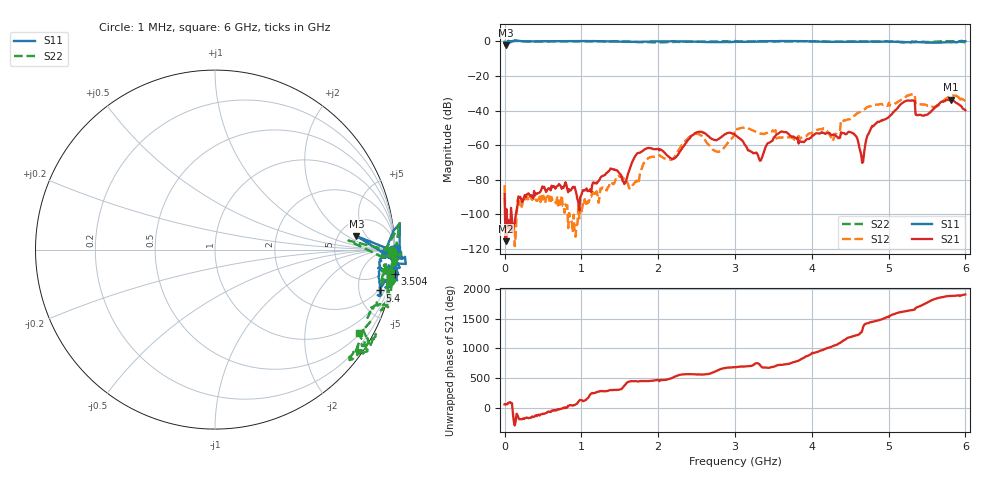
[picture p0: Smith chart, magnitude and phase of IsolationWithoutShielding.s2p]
# GHZ S RI R 50
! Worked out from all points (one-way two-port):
!   501 points, 1 MHz to 6 GHz, reference 50 ohm
!   highest |S21| = -33.76 dB at 5.808 GHz (marker M1); lowest = -115.7 dB at 13 MHz (marker M2)
!   lowest |S11| = -2.0 dB at 13 MHz (marker M3), VSWR 8.61, Z = 369 + j149 ohm
!   |S11| at or under -10 dB: nowhere
!   |S22| runs from -2.6 to 0.3 dB; largest |S21 - S12| = 0.049
!   S11 on the Smith chart (normalised r, x): 1 MHz: open; 3.504 GHz: -1, -15; 5.4 GHz: 1.75, -7.81; 6 GHz: open
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0.001  0.9857 -0.00395  2.26e-05 3.06e-05  -6.68e-05 -1.66e-05  0.9842 -0.00791
0.012998  0.7882 0.0755  1.11e-06 1.21e-06  -2.87e-06 1.04e-06  0.7439 0.0503
1.008832  1.02 -0.00992  -2.2e-05 3.49e-05  2.87e-06 -1.42e-05  1.011 -0.0243
1.56074  0.9791 -0.0442  7.34e-05 1.2e-05  -2.02e-05 -9.86e-05  0.9899 -0.07
1.728712  0.9762 -0.0287  6.96e-05 0.000576  1.27e-06 7.43e-05  0.9498 -0.1275
2.004666  0.9963 -0.0689  -0.000205 0.00075  -5.08e-05 0.000473  0.9394 -0.1097
2.208632  0.9982 -0.0971  -0.000381 0.000151  -0.000422 0.000103  0.9553 -0.1202
2.496584  0.9754 -0.1193  -0.00216 -0.000798  -0.00172 -0.00123  0.9721 -0.1559
2.796534  0.9497 -0.1079  0.000329 -0.00151  8.55e-06 -0.000651  0.973 -0.1852
3.0005  0.9906 -0.127  0.00152 -0.0012  0.00163 -0.0024  1.012 -0.1611
3.324446  1 -0.0866  0.000351 1.4e-05  0.000368 0.00213  1.004 -0.0173
3.504416  1.001 -0.1362  0.00146 -0.000775  -0.00225 0.0011  0.9811 -0.1208
4.008332  0.9928 -0.1279  -0.00173 -0.00083  0.00202 0.00109  0.9593 -0.2769
4.272288  0.9653 -0.1361  0.0015 -0.00127  -0.0013 8.03e-05  0.9604 -0.1835
4.512248  0.9716 -0.1157  -0.00104 0.00208  0.00587 -0.00104  0.9874 -0.1161
4.656224  0.9731 -0.1391  -0.000238 -0.000192  0.00344 0.00952  0.9915 -0.134
4.776204  0.9698 -0.1562  0.00319 0.000448  -0.0076 0.0113  0.9731 -0.1699
5.004166  0.9572 -0.1961  0.00015 0.00655  -0.0121 -0.0117  0.935 -0.3101
5.256124  0.924 -0.2253  -0.0183 -0.0061  0.0241 0.0121  0.8462 -0.3862
5.4001  0.9198 -0.2278  0.000191 -0.00749  -0.015 -0.000214  0.8174 -0.5272
5.808032  0.9296 -0.0472  8.91e-05 0.0205  0.0146 0.0224  0.8844 -0.4982
6  1.017 0.00443  -0.00376 0.00949  -0.0167 0.00853  0.8006 -0.4626
